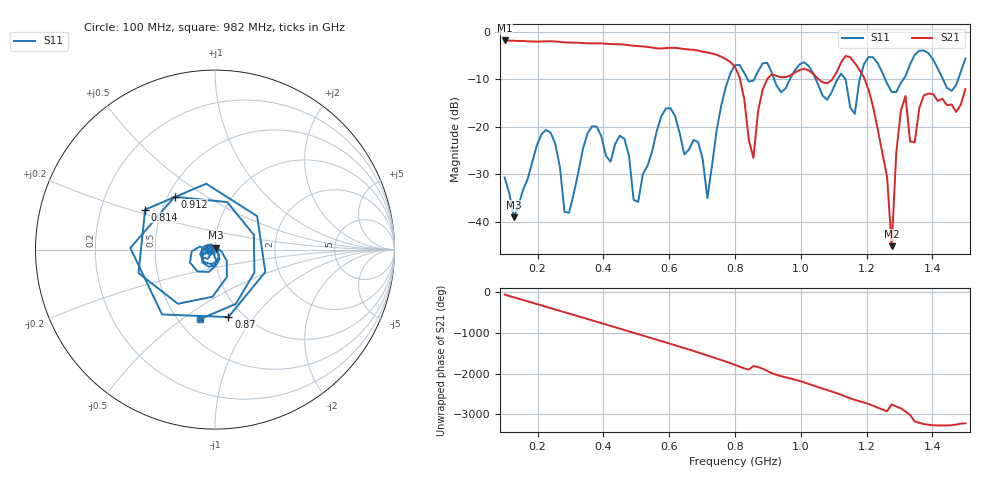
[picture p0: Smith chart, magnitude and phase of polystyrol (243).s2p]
! NanoVNA-App
! Date: 2025-09-25 15:31:47
! Start: 100MHz Stop: 1,5GHz Points: 101
! S-Parameter data: F S11 S21 S12 S22
# Hz S RI R 50
!  Frequency  S11_Real  S11_Imag  S21_Real  S21_Imag  S12_Real  S12_Imag  S22_Real  S22_Imag
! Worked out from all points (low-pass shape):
!   101 points, 100 MHz to 1.5 GHz, reference 50 ohm
!   highest |S21| = -1.80 dB at 100 MHz (marker M1); lowest = -45.2 dB at 1.276 GHz (marker M2)
!   |S21| within 3 dB of the highest: start of sweep to 743 MHz
!   lowest |S11| = -39.1 dB at 128 MHz (marker M3), VSWR 1.02, Z = 50.3 + j1.07 ohm
!   |S11| at or under -10 dB: start of sweep to 779.8 MHz; 1.046 GHz to 1.112 GHz (66.05 MHz wide, 6.12 % of centre); 1.257 GHz to 1.311 GHz (54.84 MHz wide, 4.27 % of centre) (the widest 3 of 7)
!   S12 and S22 are empty: the file has one direction only
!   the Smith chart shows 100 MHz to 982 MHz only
!   S11 on the Smith chart (normalised r, x): 100 MHz: 0.94, -0.01; 814 MHz: 0.40, +0.22; 870 MHz: 0.86, -0.75; 912 MHz: 0.54, +0.37; 982 MHz: 0.64, -0.59
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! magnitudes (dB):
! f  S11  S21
! 100 MHz  -30.7  -1.8
! 128 MHz  -39.1  -1.9
! 212 MHz  -21.6  -2.0
! 282 MHz  -37.9  -2.2
! 338 MHz  -24.7  -2.4
! 464 MHz  -22.6  -2.7
! 506 MHz  -35.8  -3.0
! 576 MHz  -17.8  -3.5
! 716 MHz  -35.1  -4.3
! 800 MHz  -7.0  -7.3
! 814 MHz  -7.0  -9.6
! 856 MHz  -10.3  -26.6
! 870 MHz  -8.3  -16.7
! 912 MHz  -8.6  -8.9
! 982 MHz  -8.1  -8.6
! 1.038 GHz  -8.8  -8.9
! 1.164 GHz  -17.3  -6.6
! 1.192 GHz  -6.8  -9.6
! 1.276 GHz  -12.7  -45.2
! 1.318 GHz  -9.3  -13.5
! 1.346 GHz  -4.8  -23.3
! 1.5 GHz  -5.6  -12.1
